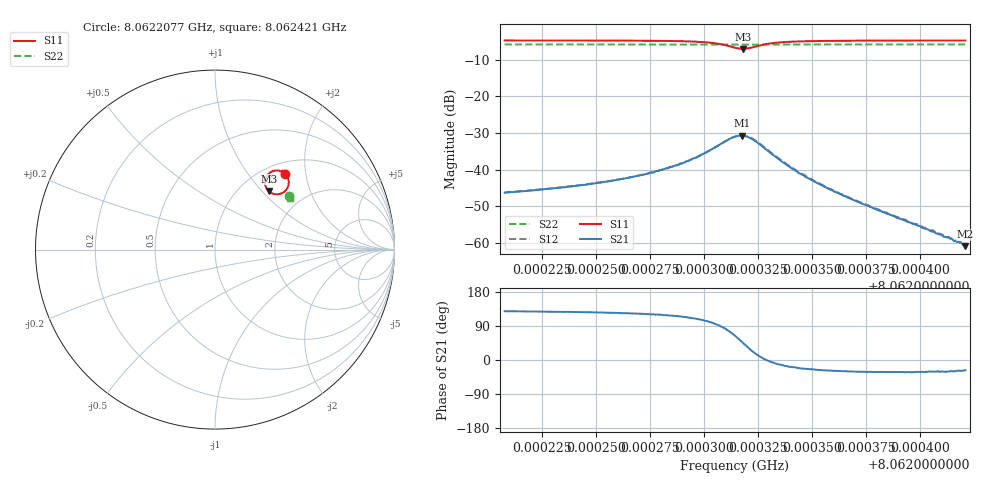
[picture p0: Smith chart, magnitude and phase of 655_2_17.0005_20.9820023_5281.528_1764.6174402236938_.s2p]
#  HZ  S  RI  R  50.00
! Rohde & Schwarz Vector Network Analyzer
! Rohde-Schwarz,ZNB20-2Port,1311601062101988,3.16
! Created: UTC 3/20/2024, 11:21:24 PM
! freq[Hz]  re:S11  im:S11  re:S21  im:S21  re:S12  im:S12  re:S22  im:S22
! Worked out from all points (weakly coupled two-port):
!   401 points, 8.0622077 GHz to 8.062421 GHz, reference 50 ohm
!   highest |S21| = -30.71 dB at 8.0623175 GHz (marker M1); lowest = -60.9 dB at 8.062421 GHz (marker M2)
!   lowest |S11| = -7.1 dB at 8.0623181 GHz (marker M3), VSWR 2.59, Z = 67.3 + j54.5 ohm
!   |S11| at or under -10 dB: nowhere
!   |S22| runs from -6.0 to -5.9 dB; largest |S21 - S12| = 0.0012
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8.06220768e9  0.3924 0.4213  -0.00303 0.00378  -0.00282 0.00395  0.4106 0.3001
8.06224341e9  0.398 0.4146  -0.00365 0.00497  -0.00333 0.0052  0.4118 0.2979
8.06226475e9  0.4027 0.4069  -0.00424 0.00643  -0.00389 0.00669  0.4128 0.2966
8.06227914e9  0.407 0.3974  -0.00486 0.00835  -0.00427 0.00874  0.4133 0.2955
8.06228714e9  0.4096 0.3886  -0.00501 0.0102  -0.00439 0.0106  0.4134 0.2947
8.06229674e9  0.4111 0.3703  -0.00478 0.0141  -0.00384 0.0143  0.4137 0.2935
8.06230688e9  0.3965 0.3329  -0.000548 0.0215  0.000573 0.0216  0.4129 0.2916
8.06231434e9  0.3398 0.3082  0.0122 0.0252  0.0133 0.0248  0.4105 0.2908
8.06231754e9  0.3043 0.3218  0.0196 0.0216  0.0204 0.021  0.4094 0.2916
8.06231808e9  0.299 0.326  0.0206 0.0204  0.0215 0.0199  0.4093 0.2919
8.06232287e9  0.2781 0.3765  0.0238 0.00902  0.0246 0.00836  0.4089 0.2941
8.06232981e9  0.3007 0.4244  0.0177 -0.000713  0.0182 -0.00163  0.4107 0.2956
8.06233994e9  0.3347 0.4402  0.0103 -0.0033  0.0103 -0.00389  0.4126 0.2953
8.06235007e9  0.3526 0.4405  0.00649 -0.00294  0.0064 -0.0034  0.4139 0.2946
8.06236234e9  0.3645 0.438  0.00413 -0.00228  0.00409 -0.00259  0.4147 0.2938
8.0623858e9  0.3758 0.4334  0.00208 -0.0013  0.002 -0.00144  0.4158 0.2923
8.06239647e9  0.3789 0.4316  0.00155 -0.000953  0.00149 -0.00111  0.4163 0.2916
8.06239914e9  0.3796 0.4312  0.00148 -0.000889  0.00143 -0.00106  0.4165 0.2914
8.06240394e9  0.3806 0.4305  0.0013 -0.00077  0.00125 -0.000852  0.4168 0.2911
8.0624066e9  0.3813 0.4301  0.00122 -0.000725  0.00119 -0.00082  0.4167 0.2911
8.06241407e9  0.3827 0.4292  0.000995 -0.000552  0.000956 -0.000622  0.4171 0.2908
8.062421e9  0.384 0.4285  0.000803 -0.000412  0.000792 -0.000503  0.4173 0.2902
